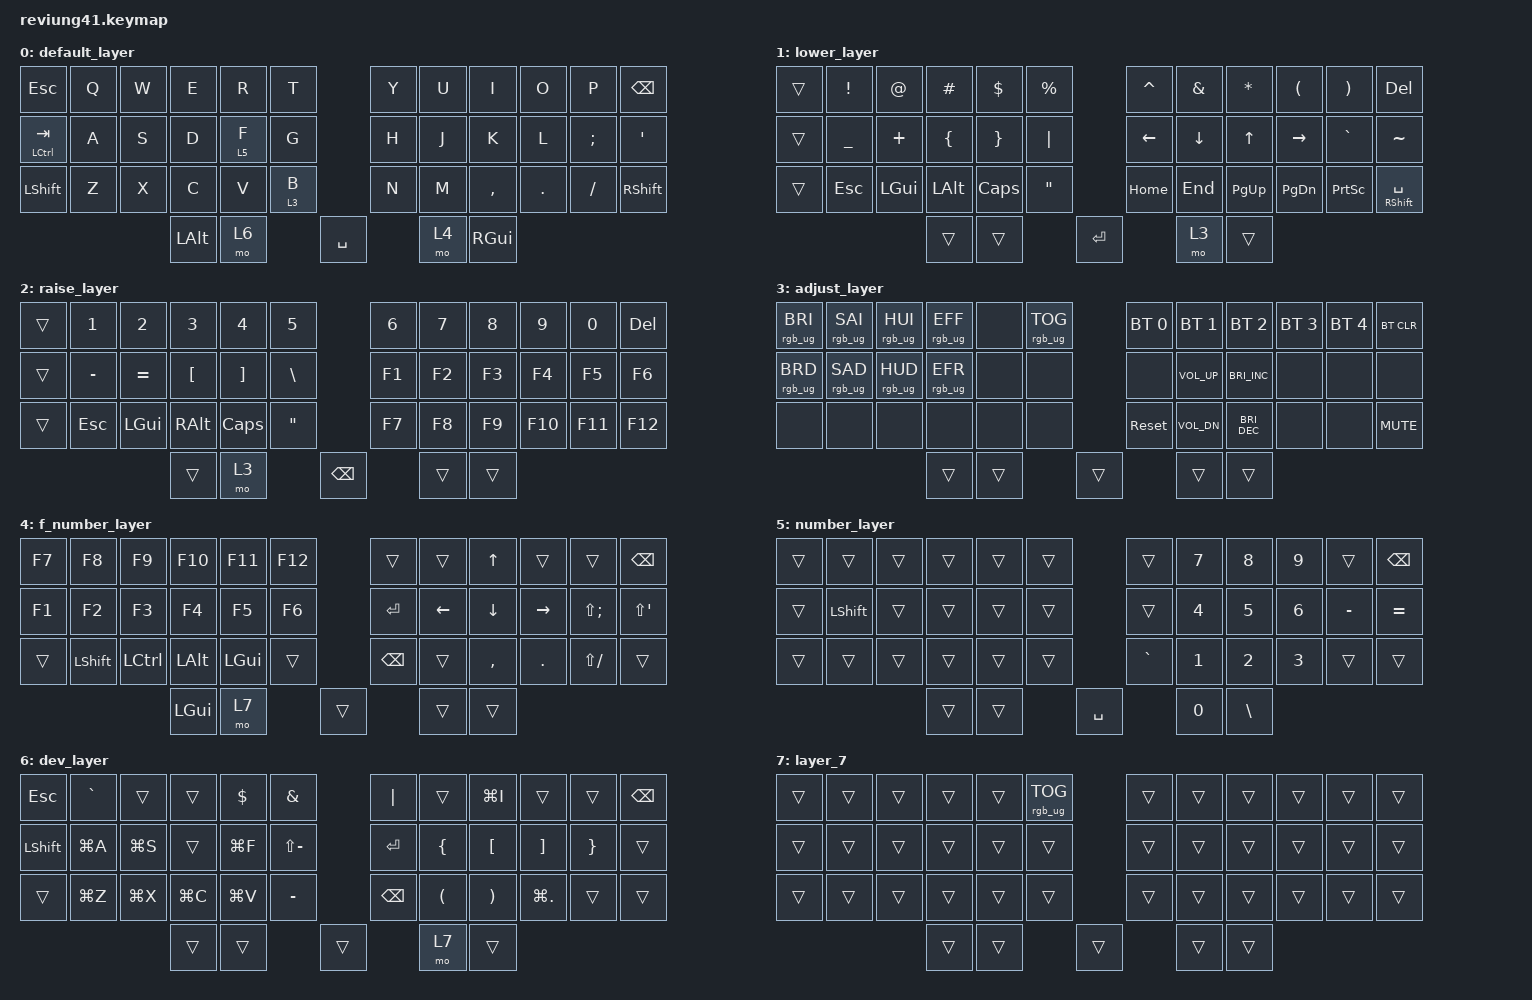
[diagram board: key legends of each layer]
/*
 * Copyright (c) 2020 The ZMK Contributors
 *
 * SPDX-License-Identifier: MIT
 */

#include <behaviors.dtsi>
#include <dt-bindings/zmk/bt.h>
#include <dt-bindings/zmk/keys.h>
#include <dt-bindings/zmk/rgb.h>

/ {
    combos {
        compatible = "zmk,combos";

        esc {
            bindings = <&kp ESC>;
            key-positions = <1 2>;
            layers = <0>;
            timeout-ms = <50>;
            require-prior-idle-ms = <0>;
        };

        ko-en {
            bindings = <&kp CLCK>;
            key-positions = <20 21>;
            layers = <0>;
        };

        leftGui {
            bindings = <&kp LEFT_GUI>;
            key-positions = <36 37>;
            layers = <0>;
        };

        ko-en-win {
            bindings = <&kp LANGUAGE_1>;
            key-positions = <20 21>;
            layers = <7>;
        };
    };

    behaviors {
        qESC: qESC {
            compatible = "zmk,behavior-tap-dance";
            label = "Q/ESC";
            #binding-cells = <0>;
            bindings = <&kp Q>, <&kp ESC>;
        };
    };

    keymap {
        compatible = "zmk,keymap";

        default_layer {
            // -------------------------------------------------------------------------------------
            // |  TAB |  Q  |  W  |  E  |  R  |  T  |   |  Y  |  U   |  I  |  O  |  P  |   BKSP    |
            // | CTRL |  A  |  S  |  D  |  F  |  G  |   |  H  |  J   |  K  |  L  |  ;  |    '      |
            // | SHFT |  Z  |  X  |  C  |  V  |  B  |   |  N  |  M   |  ,  |  .  |  /  | SHFT(RET) |
            //                         | ALT | LWR | SPC | RSE  | ALT |

            bindings = <
&kp ESC        &kp Q  &kp W  &kp E     &kp R    &kp T               &kp Y  &kp U  &kp I      &kp O    &kp P     &kp BSPC
&mt LCTRL TAB  &kp A  &kp S  &kp D     &lt 5 F  &kp G               &kp H  &kp J  &kp K      &kp L    &kp SEMI  &kp SQT
&kp LSHIFT     &kp Z  &kp X  &kp C     &kp V    &lt 3 B             &kp N  &kp M  &kp COMMA  &kp DOT  &kp FSLH  &kp RSHFT
                             &kp LALT  &mo 6             &kp SPACE         &mo 4  &kp RGUI
            >;
        };

        lower_layer {
            // ------------------------------------------------------------------------------------
            // |    |  !  |  @  |  #  |  $  |  %  |   |  ^  |  &  |  *  |  (  |  )  |      DEL    |
            // |    |  _  |  +  |  {  |  }  | "|" |   | LFT | DWN |  UP | RGT |  `  |       ~     |
            // |    | ESC | GUI | ALT | CAPS|  "  |   | HOME| END | PGUP| PGDN| PRSC| SHFT(SPACE) |
            //                       |     |     | RET | ADJ |     |

            bindings = <
&trans  &kp EXCL   &kp AT    &kp HASH  &kp DLLR  &kp PRCNT           &kp CARET  &kp AMPS  &kp ASTRK  &kp LPAR   &kp RPAR   &kp DEL
&trans  &kp UNDER  &kp PLUS  &kp LBRC  &kp RBRC  &kp PIPE            &kp LEFT   &kp DOWN  &kp UP     &kp RIGHT  &kp GRAVE  &kp TILDE
&trans  &kp ESC    &kp LGUI  &kp LALT  &kp CLCK  &kp DQT             &kp HOME   &kp END   &kp PG_UP  &kp PG_DN  &kp PSCRN  &mt RSHFT SPACE
                             &trans    &trans               &kp RET             &mo 3     &trans
            >;
        };

        raise_layer {
            // ----------------------------------------------------------------------------
            // |    |  1  |  2  |  3  |  4  |  5  |   |  6  |  7  |  8  |  9  |  0  | DEL |
            // |    |  -  |  =  |  [  |  ]  |  \  |   | F1  | F2  | F3  | F4  | F5  | F6  |
            // |    | ESC | GUI | ALT | CAPS|  "  |   | F7  | F8  | F9  | F10 | F11 | F12 |
            //                       |     | ADJ | BKSP |    |     |

            bindings = <
&trans  &kp N1     &kp N2     &kp N3    &kp N4    &kp N5              &kp N6  &kp N7  &kp N8  &kp N9   &kp N0   &kp DEL
&trans  &kp MINUS  &kp EQUAL  &kp LBKT  &kp RBKT  &kp BSLH            &kp F1  &kp F2  &kp F3  &kp F4   &kp F5   &kp F6
&trans  &kp ESC    &kp LGUI   &kp RALT  &kp CLCK  &kp DQT             &kp F7  &kp F8  &kp F9  &kp F10  &kp F11  &kp F12
                              &trans    &mo 3               &kp BSPC          &trans  &trans
            >;
        };

        adjust_layer {
            // -----------------------------------------------------------------------------------------
            // | RGB BRI+ | RGB SAT+ | RGB HUE+ | RGB ANI+ |    | RGB TOG |   |  BT1  | BT2 | BT3 | BT4 | BT5 | BT CLR |
            // | RGB BRI- | RGB SAT- | RGB HUE- | RGB ANI- |    |         |   |       |     |     |     |     |        |
            // |          |          |          |          |    |         |   | RESET |     |     |     |     |        |
            //                                              |     |     |     |     |     |

            bindings = <
&rgb_ug RGB_BRI  &rgb_ug RGB_SAI  &rgb_ug RGB_HUI  &rgb_ug RGB_EFF  &none   &rgb_ug RGB_TOG          &bt BT_SEL 0  &bt BT_SEL 1     &bt BT_SEL 2   &bt BT_SEL 3  &bt BT_SEL 4  &bt BT_CLR
&rgb_ug RGB_BRD  &rgb_ug RGB_SAD  &rgb_ug RGB_HUD  &rgb_ug RGB_EFR  &none   &none                    &none         &kp C_VOLUME_UP  &kp C_BRI_INC  &none         &none         &none
&none            &none            &none            &none            &none   &none                    &sys_reset    &kp C_VOL_DN     &kp C_BRI_DEC  &none         &none         &kp C_MUTE
                                                   &trans           &trans                   &trans                &trans           &trans
            >;
        };

        f_number_layer {
            bindings = <
&kp F7  &kp F8     &kp F9     &kp F10       &kp F11       &kp F12          &trans         &trans    &kp UP     &trans     &trans             &kp BACKSPACE
&kp F1  &kp F2     &kp F3     &kp F4        &kp F5        &kp F6           &kp ENTER      &kp LEFT  &kp DOWN   &kp RIGHT  &kp LS(SEMICOLON)  &kp LS(SQT)
&trans  &kp LSHFT  &kp LCTRL  &kp LEFT_ALT  &kp LEFT_GUI  &trans           &kp BACKSPACE  &trans    &kp COMMA  &kp DOT    &kp LS(SLASH)      &trans
                              &kp LEFT_GUI  &mo 7                  &trans                 &trans    &trans
            >;
        };

        number_layer {
            bindings = <
&trans  &trans          &trans  &trans  &trans  &trans             &trans     &kp NUMBER_7  &kp NUMBER_8   &kp NUMBER_9  &trans     &kp BACKSPACE
&trans  &kp LEFT_SHIFT  &trans  &trans  &trans  &trans             &trans     &kp NUMBER_4  &kp NUMBER_5   &kp NUMBER_6  &kp MINUS  &kp EQUAL
&trans  &trans          &trans  &trans  &trans  &trans             &kp GRAVE  &kp NUMBER_1  &kp NUMBER_2   &kp NUMBER_3  &trans     &trans
                                &trans  &trans          &kp SPACE             &kp NUMBER_0  &kp BACKSLASH
            >;
        };

        dev_layer {
            bindings = <
&kp ESC    &kp GRAVE  &trans     &trans     &kp DOLLAR  &kp AMPERSAND          &kp PIPE       &trans    &kp LG(I)  &trans       &trans           &kp BACKSPACE
&kp LSHFT  &kp LG(A)  &kp LG(S)  &trans     &kp LG(F)   &kp LS(MINUS)          &kp ENTER      &kp LBRC  &kp LBKT   &kp RBKT     &kp RIGHT_BRACE  &trans
&trans     &kp LG(Z)  &kp LG(X)  &kp LG(C)  &kp LG(V)   &kp MINUS              &kp BACKSPACE  &kp LPAR  &kp RPAR   &kp LG(DOT)  &trans           &trans
                                 &trans     &trans                     &trans                 &mo 7     &trans
            >;
        };

        layer_7 {
            bindings = <
&trans  &trans  &trans  &trans  &trans  &rgb_ug RGB_TOG          &trans  &trans  &trans  &trans  &trans  &trans
&trans  &trans  &trans  &trans  &trans  &trans                   &trans  &trans  &trans  &trans  &trans  &trans
&trans  &trans  &trans  &trans  &trans  &trans                   &trans  &trans  &trans  &trans  &trans  &trans
                        &trans  &trans                   &trans          &trans  &trans
            >;
        };
    };
};
